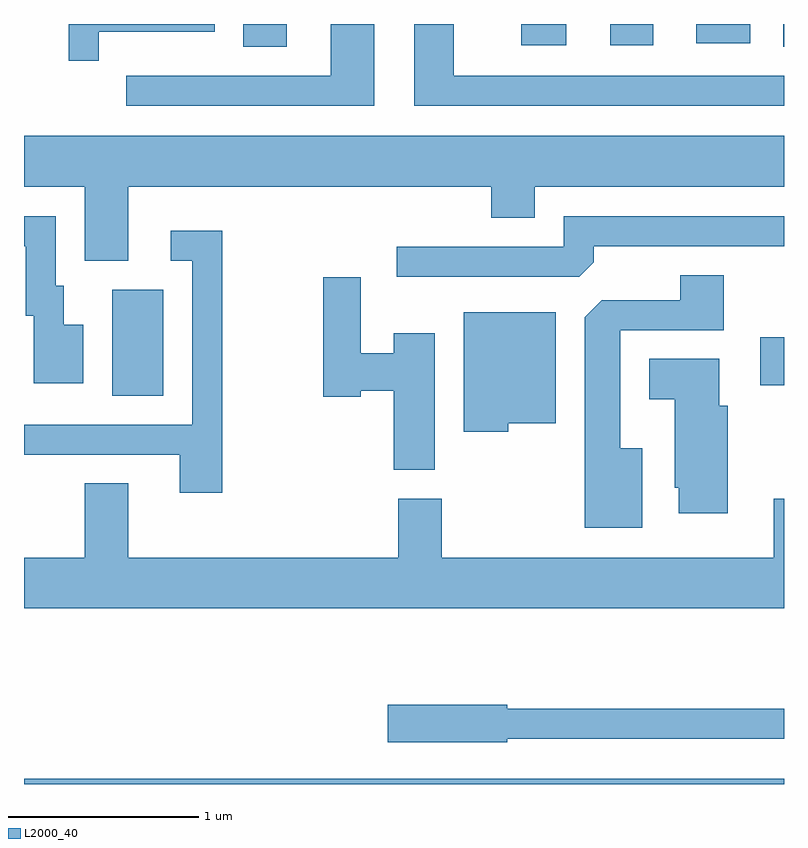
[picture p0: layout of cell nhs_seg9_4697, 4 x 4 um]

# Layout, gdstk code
import gdstk
lib = gdstk.Library(unit=1e-6, precision=1e-09)
def R(c, l, rs):  # rectangles x0, y0, x1, y1
    for r in rs: c.add(gdstk.rectangle(r[:2], r[2:], *l))
def P(c, l, *ps):  # polygons
    for p in ps: c.add(gdstk.Polygon(p, *l))
L2000_40 = (2000, 40)

nhs_seg9_4697 = lib.new_cell('nhs_seg9_4697')
R(nhs_seg9_4697, L2000_40, [(323.611,2006.432,327.611,2006.459), (324.076,2008.476,324.344,2009.034), (327.486,2008.531,327.611,2008.784), (324.766,2010.311,324.994,2010.432), (327.606,2010.311,327.611,2010.432), (326.228,2010.321,326.464,2010.432), (326.696,2010.321,326.924,2010.432), (327.148,2010.331,327.434,2010.432)])
P(nhs_seg9_4697, L2000_40, [(327.611,2010.159),(325.874,2010.159),(325.874,2010.432),(325.666,2010.432),(325.666,2010.001),(327.611,2010.001)],
  [(324.004,2010.391),(324.614,2010.391),(324.614,2010.432),(323.846,2010.432),(323.846,2010.238),(324.004,2010.238)],
  [(325.454,2010.432),(325.226,2010.432),(325.226,2010.159),(324.148,2010.159),(324.148,2010.001),(325.454,2010.001)],
  [(324.159,2009.576),(326.071,2009.576),(326.071,2009.411),(326.299,2009.411),(326.299,2009.576),(327.611,2009.576),(327.611,2009.844),(323.611,2009.844),(323.611,2009.576),(323.931,2009.576),(323.931,2009.186),(324.159,2009.186)],
  [(323.924,2008.849),(323.819,2008.849),(323.819,2009.054),(323.779,2009.054),(323.779,2009.419),(323.611,2009.419),(323.611,2009.261),(323.621,2009.261),(323.621,2008.896),(323.661,2008.896),(323.661,2008.541),(323.924,2008.541)],
  [(326.609,2009.177),(326.609,2009.261),(327.611,2009.261),(327.611,2009.419),(326.451,2009.419),(326.451,2009.259),(325.573,2009.259),(325.573,2009.101),(326.534,2009.101)],
  [(324.654,2009.344),(324.383,2009.344),(324.383,2009.186),(324.496,2009.186),(324.496,2008.324),(323.611,2008.324),(323.611,2008.166),(324.431,2008.166),(324.431,2007.966),(324.654,2007.966)],
  [(326.864,2008.199),(326.749,2008.199),(326.749,2008.821),(327.294,2008.821),(327.294,2009.109),(327.066,2009.109),(327.066,2008.979),(326.652,2008.979),(326.561,2008.889),(326.561,2007.781),(326.864,2007.781)],
  [(325.774,2008.804),(325.556,2008.804),(325.556,2008.699),(325.384,2008.699),(325.384,2009.099),(325.186,2009.099),(325.186,2008.471),(325.384,2008.471),(325.384,2008.501),(325.556,2008.501),(325.556,2008.086),(325.774,2008.086)],
  [(326.159,2008.331),(326.409,2008.331),(326.409,2008.914),(325.926,2008.914),(325.926,2008.286),(326.159,2008.286)],
  [(327.314,2008.424),(327.269,2008.424),(327.269,2008.669),(326.901,2008.669),(326.901,2008.456),(327.036,2008.456),(327.036,2007.991),(327.056,2007.991),(327.056,2007.856),(327.314,2007.856)],
  [(327.611,2007.934),(327.556,2007.934),(327.556,2007.624),(325.809,2007.624),(325.809,2007.934),(325.581,2007.934),(325.581,2007.624),(324.159,2007.624),(324.159,2008.014),(323.931,2008.014),(323.931,2007.624),(323.611,2007.624),(323.611,2007.356),(327.611,2007.356)],
  [(326.154,2006.671),(327.611,2006.671),(327.611,2006.829),(326.154,2006.829),(326.154,2006.849),(325.526,2006.849),(325.526,2006.651),(326.154,2006.651)])

lib.write_gds('nhs_seg9_4697.gds')
